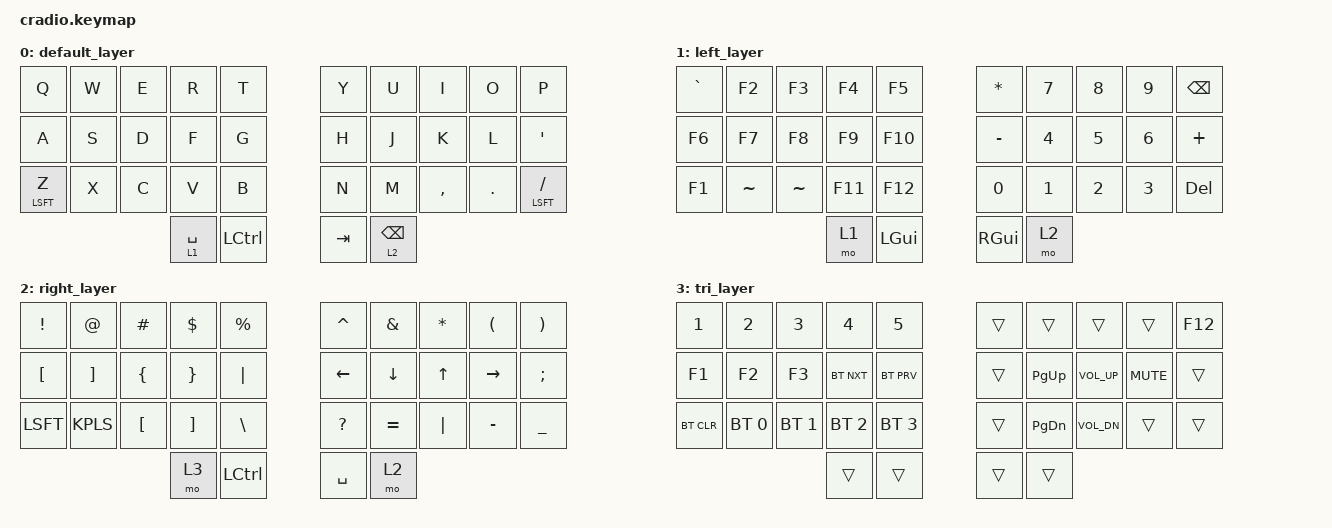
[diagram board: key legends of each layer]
/*
 * Copyright (c) 2020 The ZMK Contributors
 *
 * SPDX-License-Identifier: MIT
 */

#include <behaviors.dtsi>
#include <dt-bindings/zmk/keys.h>
#include <dt-bindings/zmk/bt.h>

/* Adjusted Cradio pin arrangement */
/* The position of Q and B keys have been swapped */
&kscan0 {
	input-gpios
	= <&pro_micro_d  6 (GPIO_ACTIVE_LOW | GPIO_PULL_UP)>
	, <&pro_micro_a  0 (GPIO_ACTIVE_LOW | GPIO_PULL_UP)>
	, <&pro_micro_a  1 (GPIO_ACTIVE_LOW | GPIO_PULL_UP)>
	, <&pro_micro_a  2 (GPIO_ACTIVE_LOW | GPIO_PULL_UP)>
	, <&pro_micro_a  3 (GPIO_ACTIVE_LOW | GPIO_PULL_UP)>
	, <&pro_micro_d 15 (GPIO_ACTIVE_LOW | GPIO_PULL_UP)>
	, <&pro_micro_d 14 (GPIO_ACTIVE_LOW | GPIO_PULL_UP)>
	, <&pro_micro_d 16 (GPIO_ACTIVE_LOW | GPIO_PULL_UP)>
	, <&pro_micro_d 10 (GPIO_ACTIVE_LOW | GPIO_PULL_UP)>
	, <&pro_micro_d  1 (GPIO_ACTIVE_LOW | GPIO_PULL_UP)>
	, <&pro_micro_d  2 (GPIO_ACTIVE_LOW | GPIO_PULL_UP)>
	, <&pro_micro_d  3 (GPIO_ACTIVE_LOW | GPIO_PULL_UP)>
	, <&pro_micro_d  4 (GPIO_ACTIVE_LOW | GPIO_PULL_UP)>
	, <&pro_micro_d  5 (GPIO_ACTIVE_LOW | GPIO_PULL_UP)>
	, <&pro_micro_d  7 (GPIO_ACTIVE_LOW | GPIO_PULL_UP)>
	, <&pro_micro_d  8 (GPIO_ACTIVE_LOW | GPIO_PULL_UP)>
	, <&pro_micro_d  9 (GPIO_ACTIVE_LOW | GPIO_PULL_UP)>
	;
};

&mt {
  //  flavor = "tap-preferred";
   // tapping_term_ms = <200>;
};

/ { 

    combos {
        compatible = "zmk,combos";
        combo_esc {
            timeout-ms = <50>;
            key-positions = <10 11>;
            bindings = <&kp ESC>;
        };
        
         combo_tab {
            timeout-ms = <50>;
            key-positions = <0 1>;
            bindings = <&kp TAB>;
        };
        
            combo_bspc {
            timeout-ms = <50>;
            key-positions = <8 9>;
            bindings = <&kp BSPC>;
        };
        
                    combo_lalt {
            timeout-ms = <50>;
            key-positions = <11 12>;
            bindings = <&kp LALT>;
        };
        
                           combo_lgui {
            timeout-ms = <50>;
            key-positions = <12 13>;
            bindings = <&kp LGUI>;
        };
        
        
           combo_ret {
            timeout-ms = <50>;
            key-positions = <18 19>;
            bindings = <&kp RET>;
        };
        
    				combo_ralt {                                                                                                                          
            timeout-ms = <50>;                                                                                                                    
            key-positions = <17 16>;                                                                                                                
            bindings = <&kp RALT>;                                                                                                                
         };

						combo_rgui {
						timeout-ms = <50>;
						key-positions = <17 18>;
						bindings = <&kp RGUI>;
				 };

        
    };

        keymap {
                compatible = "zmk,keymap";
                
       		default_layer {
		bindings = <
		&kp Q &kp W &kp E &kp R &kp T 						  &kp Y &kp U  &kp I &kp O   &kp P 
		&kp A &kp S &kp D &kp F &kp G 			        &kp H &kp J  &kp K &kp L   &kp SQT
		&mt LSFT Z &kp X &kp C &kp V &kp B				  &kp N &kp M  &kp CMMA &kp DOT &mt LSFT FSLH
          				&lt 1 SPC &kp LCTL  				&kp TAB &lt 2 BSPC
		>;
		};

       		left_layer {
		bindings = <
		&kp GRAVE &kp F2      &kp F3    &kp F4    &kp F5		    &kp ASTRK &kp NUM_7  &kp NUM_8 &kp NUM_9 &kp BSPC
		&kp F6    &kp F7      &kp F8    &kp F9    &kp F10 		  &kp MINUS &kp NUM_4  &kp NUM_5 &kp NUM_6 &kp PLUS 
		&kp F1    &kp TILDE 	&kp TILDE &kp F11   &kp F12 	    &kp NUM_0 &kp NUM_1  &kp NUM_2 &kp NUM_3  &kp DEL 
					    &mo 1  &kp LGUI  					&kp RGUI &mo 2 
		>;
		};
		
		right_layer {
		bindings = <
		&kp EXCL  &kp AT &kp HASH  &kp DLLR  &kp PRCNT    			&kp CARET  &kp AMPS &kp ASTRK &kp LPAR &kp RPAR 
		&kp LBKT  &kp RBKT  &kp LBRC &kp RBRC &kp PIPE         &kp LEFT &kp DOWN  &kp UP  &kp RIGHT   &kp SEMI
		&kp LSFT  &kp KPLS &kp LBKT &kp RBKT   &kp BSLH    			&kp QMARK &kp EQUAL &kp PIPE &kp MINUS  &kp UNDER
					  &mo 3 &kp LCTL  				&kp SPC  &mo 2 
		>;
		};	
		
		tri_layer {
		bindings = <
		&kp NUM_1  &kp NUM_2    &kp NUM_3    &kp NUM_4    &kp NUM_5 			&trans &trans   &trans   &trans  &kp F12
		&kp F1 &kp F2 &kp F3 &bt BT_NXT &bt BT_PRV					&trans &kp PG_UP  &kp K_VOL_UP &kp K_MUTE &trans 
		&bt BT_CLR  &bt BT_SEL 0 &bt BT_SEL 1 &bt BT_SEL 2 &bt BT_SEL 3	   				&trans &kp PG_DN  &kp K_VOL_DN  &trans &trans   
					 &trans &trans  					&trans &trans 
		>;
		};	
        
	};
};
